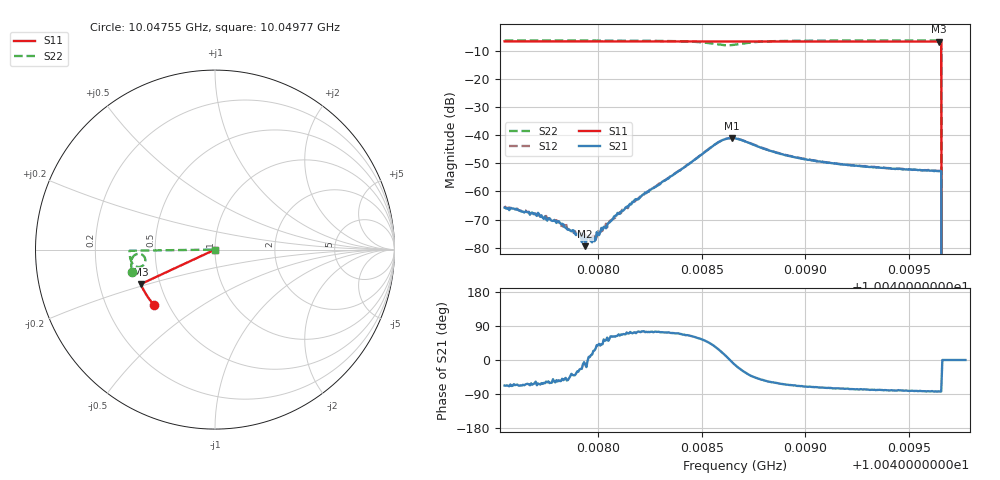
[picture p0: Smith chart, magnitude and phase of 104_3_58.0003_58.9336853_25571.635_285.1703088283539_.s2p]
#  HZ  S  RI  R  50.00
! Rohde & Schwarz Vector Network Analyzer
! Rohde-Schwarz,ZNB20-2Port,1311601062101988,3.16
! Created: UTC 3/21/2024, 12:54:56 AM
! freq[Hz]  re:S11  im:S11  re:S21  im:S21  re:S12  im:S12  re:S22  im:S22
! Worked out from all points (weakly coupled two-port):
!   401 points, 10.04755 GHz to 10.04977 GHz, reference 50 ohm
!   highest |S21| = -41.08 dB at 10.04864 GHz (marker M1); lowest = -79.4 dB at 10.04794 GHz (marker M2)
!   lowest |S11| = -6.8 dB at 10.04964 GHz (marker M3), VSWR 2.68, Z = 19.5 - j9.48 ohm
!   |S11| at or under -10 dB: 10.04966 GHz to end of sweep
!   |S22| runs from - to -6.4 dB; largest |S21 - S12| = 0.00063
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1.0047549e10  -0.3401 -0.3098  0.000199 -0.000475  0.000259 -0.00049  -0.4608 -0.1253
1.0047705e10  -0.3468 -0.3017  0.000145 -0.000338  0.000198 -0.000335  -0.4632 -0.114
1.0047743e10  -0.3484 -0.2999  0.000172 -0.000313  0.000191 -0.000305  -0.4637 -0.1111
1.0047799e10  -0.3507 -0.2968  0.000166 -0.000221  0.00018 -0.000252  -0.4645 -0.1068
1.0047921e10  -0.3557 -0.2905  0.000116 -5e-05  0.000167 -2.06e-05  -0.4658 -0.0971
1.0047932e10  -0.3562 -0.2898  0.000178 -1.8e-05  0.000172 -2.26e-05  -0.4659 -0.0962
1.0047938e10  -0.3563 -0.2895  0.000105 -2.14e-05  0.000171 -1.16e-05  -0.466 -0.0957
1.0047955e10  -0.3572 -0.2886  0.000163 2.39e-05  0.000143 1.33e-06  -0.4661 -0.0944
1.0047977e10  -0.358 -0.2876  0.000137 6.08e-05  0.000145 7.35e-05  -0.4663 -0.0924
1.0048005e10  -0.359 -0.286  0.000124 0.000114  0.000121 0.000148  -0.4663 -0.0901
1.0048088e10  -0.3624 -0.2814  0.000166 0.000333  0.00014 0.000351  -0.4669 -0.0828
1.0048177e10  -0.3659 -0.2768  0.000206 0.000683  0.000155 0.000647  -0.467 -0.074
1.0048294e10  -0.3704 -0.2704  0.000351 0.00127  0.000305 0.00134  -0.4655 -0.0604
1.0048572e10  -0.38 -0.2547  0.00604 0.00379  0.00577 0.00417  -0.4091 -0.0268
1.0048644e10  -0.3821 -0.2511  0.0088 -0.000665  0.0089 -7.96e-05  -0.389 -0.0692
1.0048661e10  -0.3825 -0.2503  0.00854 -0.00194  0.0087 -0.00139  -0.3938 -0.0799
1.0048855e10  -0.3897 -0.2395  0.00247 -0.00429  0.0027 -0.00416  -0.4574 -0.0815
1.0049033e10  -0.3956 -0.2292  0.00114 -0.00338  0.00134 -0.00333  -0.4693 -0.0589
1.0049406e10  -0.4069 -0.2072  0.00043 -0.00255  0.000599 -0.00252  -0.4752 -0.0255
1.0049645e10  -0.4135 -0.1929  0.0003 -0.00228  0.000412 -0.00227  -0.4759 -0.0071
1.0049672e10  0 0  0 0  0 0  0 0
1.0049772e10  0 0  0 0  0 0  0 0
